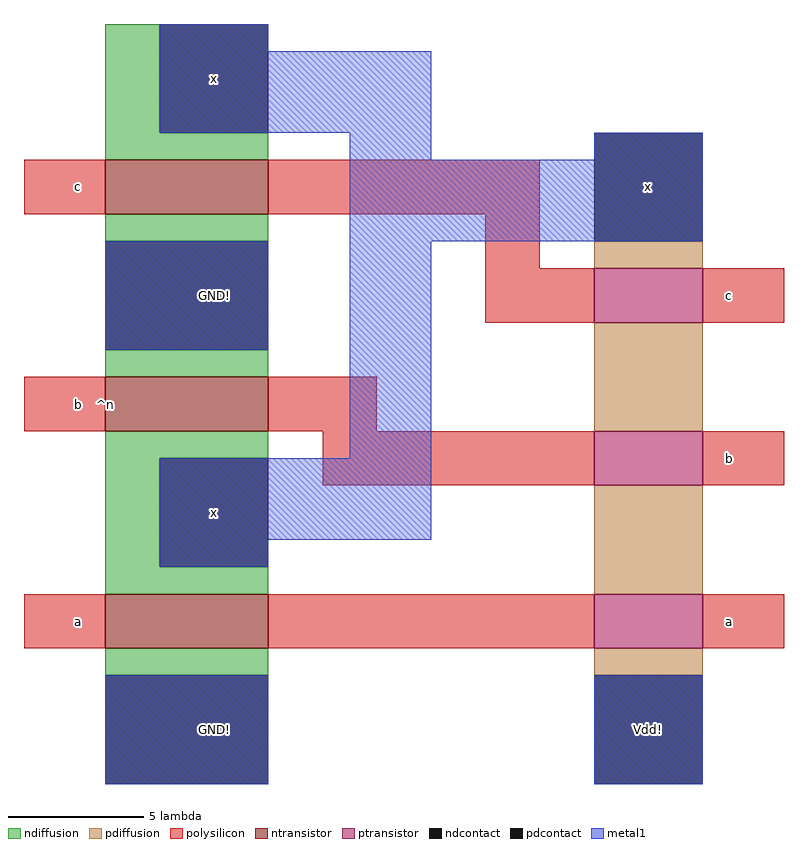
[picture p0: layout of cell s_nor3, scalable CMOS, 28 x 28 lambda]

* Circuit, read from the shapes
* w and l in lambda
.subckt s_nor3 GND! Vdd! a b c x
M1 x a GND! VSUBS nfet w=6 l=2
M2 GND! b x VSUBS nfet w=6 l=2
M3 x c GND! VSUBS nfet w=6 l=2
M4 n1 a Vdd! NWELL pfet w=4 l=2
M5 n2 b n1 NWELL pfet w=4 l=2
M6 x c n2 NWELL pfet w=4 l=2
.ends

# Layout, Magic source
magic
tech scmos
<< ndiffusion >>
rect -37 444 -35 448
rect -37 443 -31 444
rect -37 440 -31 441
rect -37 435 -31 436
rect -37 432 -31 433
rect -37 428 -35 432
rect -37 427 -31 428
rect -37 424 -31 425
<< pdiffusion >>
rect -19 439 -15 440
rect -19 433 -15 437
rect -19 427 -15 431
rect -19 424 -15 425
<< ntransistor >>
rect -37 441 -31 443
rect -37 433 -31 435
rect -37 425 -31 427
<< ptransistor >>
rect -19 437 -15 439
rect -19 431 -15 433
rect -19 425 -15 427
<< polysilicon >>
rect -40 441 -37 443
rect -31 441 -21 443
rect -23 439 -21 441
rect -23 437 -19 439
rect -15 437 -12 439
rect -40 433 -37 435
rect -31 433 -27 435
rect -29 431 -19 433
rect -15 431 -12 433
rect -40 425 -37 427
rect -31 425 -19 427
rect -15 425 -12 427
<< ndcontact >>
rect -35 444 -31 448
rect -37 436 -31 440
rect -35 428 -31 432
rect -37 420 -31 424
<< pdcontact >>
rect -19 440 -15 444
rect -19 420 -15 424
<< metal1 >>
rect -35 447 -31 448
rect -35 444 -25 447
rect -28 443 -25 444
rect -19 443 -15 444
rect -28 440 -15 443
rect -37 436 -31 440
rect -28 432 -25 440
rect -35 429 -25 432
rect -35 428 -31 429
rect -37 420 -31 424
rect -19 420 -15 424
<< labels >>
rlabel polysilicon -14 426 -14 426 7 a
rlabel polysilicon -14 432 -14 432 7 b
rlabel polysilicon -14 438 -14 438 7 c
rlabel space -15 420 -12 444 3 ^p
rlabel space -40 419 -34 449 7 ^n
rlabel polysilicon -38 442 -38 442 7 c
rlabel polysilicon -38 434 -38 434 7 b
rlabel polysilicon -38 426 -38 426 7 a
rlabel pdcontact -17 442 -17 442 6 x
rlabel pdcontact -17 422 -17 422 8 Vdd!
rlabel ndcontact -33 438 -33 438 3 GND!
rlabel ndcontact -33 422 -33 422 1 GND!
rlabel ndcontact -33 430 -33 430 1 x
rlabel ndcontact -33 446 -33 446 5 x
<< end >>
